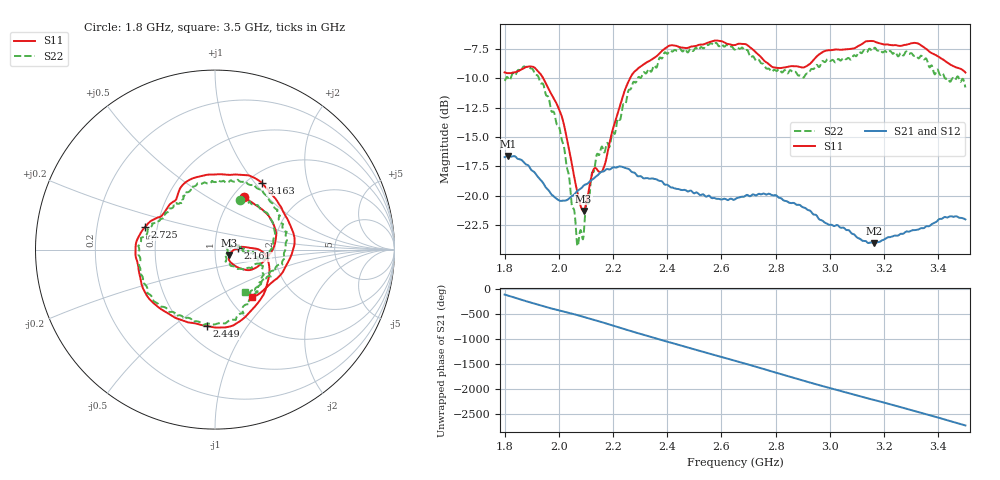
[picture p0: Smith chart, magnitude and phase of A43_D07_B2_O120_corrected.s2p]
! Created with skrf 1.9.0 (http://scikit-rf.org).
# Hz S RI R 50.0
!freq ReS11 ImS11 ReS21 ImS21 ReS12 ImS12 ReS22 ImS22
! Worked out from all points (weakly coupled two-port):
!   1601 points, 1.8 GHz to 3.5 GHz, reference 50 ohm
!   highest |S21| = -16.60 dB at 1.812 GHz (marker M1); lowest = -24.0 dB at 3.162 GHz (marker M2)
!   lowest |S11| = -21.3 dB at 2.091 GHz (marker M3), VSWR 1.19, Z = 58.6 - j3.62 ohm
!   |S11| at or under -10 dB: 1.943 GHz to 2.263 GHz (319.8 MHz wide, 15.2 % of centre)
!   |S22| runs from -24.3 to -7.0 dB; largest |S21 - S12| = 0.0026
!   S11 on the Smith chart (normalised r, x): 1.8 GHz: 1.12, +0.74; 2.161 GHz: 1.29, +0.02; 2.449 GHz: 0.64, -0.67; 2.725 GHz: 0.43, +0.13; 3.163 GHz: 1.15, +1.09; 3.5 GHz: 1.28, -0.75
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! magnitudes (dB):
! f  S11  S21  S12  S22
! 1.8 GHz  -9.5  -16.7  -16.7  -10.2
! 1.812 GHz  -9.6  -16.6  -16.6  -9.9
! 1.882 GHz  -9.0  -17.4  -17.4  -9.0
! 1.941 GHz  -9.9  -18.9  -18.9  -10.5
! 2.011 GHz  -13.3  -20.4  -20.4  -15.3
! 2.067 GHz  -19.5  -19.6  -19.6  -24.0
! 2.084 GHz  -21.1  -19.3  -19.3  -23.2
! 2.091 GHz  -21.3  -19.1  -19.2  -23.5
! 2.127 GHz  -17.8  -18.6  -18.6  -18.0
! 2.161 GHz  -17.8  -17.9  -17.9  -15.9
! 2.26 GHz  -10.1  -17.8  -17.8  -11.0
! 2.367 GHz  -8.0  -18.7  -18.6  -8.5
! 2.449 GHz  -7.4  -19.5  -19.5  -7.5
! 2.65 GHz  -7.2  -20.3  -20.3  -7.6
! 2.725 GHz  -7.8  -20.0  -19.9  -8.5
! 2.798 GHz  -9.1  -19.9  -19.9  -9.3
! 2.934 GHz  -8.6  -21.4  -21.4  -9.2
! 3.162 GHz  -6.8  -24.0  -24.0  -7.5
! 3.163 GHz  -6.8  -24.0  -24.0  -7.4
! 3.217 GHz  -7.1  -23.5  -23.5  -7.7
! 3.324 GHz  -7.0  -22.9  -22.8  -8.2
! 3.5 GHz  -9.5  -22.0  -22.0  -10.8
